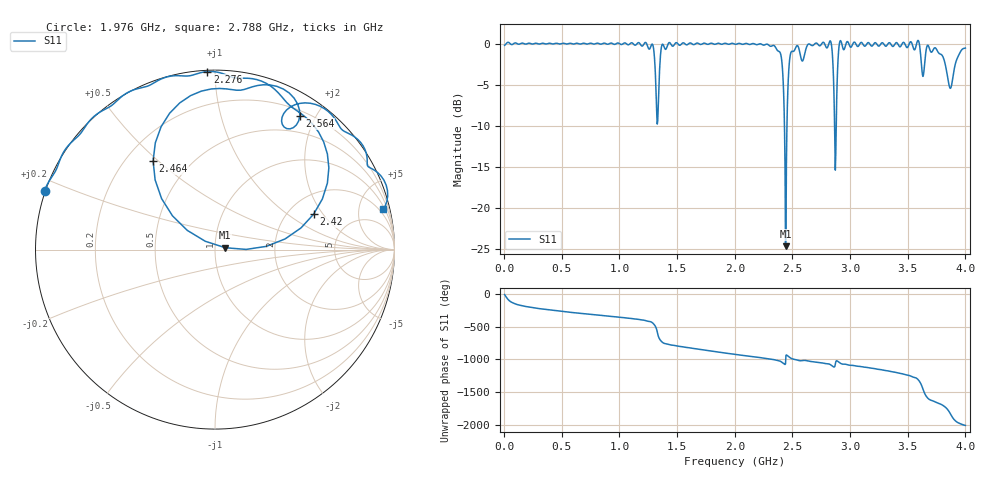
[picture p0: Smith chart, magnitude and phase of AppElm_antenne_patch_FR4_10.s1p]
! TOUCHSTONE file generated by CST MICROWAVE STUDIO
! Date and time: Tue Jun 14 11:51:06 2022
! Project name: AppElm_antenne_patch_FR4.cst
! Parameters = {L=54; W=58.5; e=0.035; h=1.6; lambda=0.190476; ls=120; w0=2.54; w1=0.847; ws=120; y0=18; y1=23.8}
! Header version: 2018
! Port assignment regex: !\s*Touchstone port\s*([0-9]+)\s*=\s*(CST MWS port|CST DS port)\s*([0-9]+|Zmin|Zmax)\s*\(\"(.*)\"\)(\s*mode\s*([0-9]+))?.*
! Touchstone port assignment:
! Touchstone port 1 = CST MWS port 1 ("")
# GHz S MA R 50
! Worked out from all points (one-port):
!   1000 points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, 4 MHz to 4 GHz, reference 50 ohm
!   lowest |S11| = -24.7 dB at 2.44 GHz (marker M1), VSWR 1.12, Z = 56.1 + j1.17 ohm
!   |S11| at or under -10 dB: 2.431 GHz to 2.453 GHz (21.78 MHz wide, 0.892 % of centre); 2.86551 GHz to 2.879615 GHz (14.11 MHz wide, 0.491 % of centre)
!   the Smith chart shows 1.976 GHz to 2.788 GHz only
!   S11 on the Smith chart (normalised r, x): 1.976 GHz: -0.00, +0.17; 2.276 GHz: 0.01, +0.96; 2.42 GHz: 2.72, +1.63; 2.464 GHz: 0.31, +0.48; 2.564 GHz: 0.27, +1.79; 2.788 GHz: 1.28, +8.23
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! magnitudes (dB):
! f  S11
! 4 MHz  -0.2
! 504 MHz  0.0
! 1.004 GHz  0.0
! 1.28 GHz  -0.1
! 1.328 GHz  -9.8
! 1.372 GHz  -0.1
! 1.504 GHz  0.0
! 1.976 GHz  0.0
! 2.004 GHz  -0.1
! 2.276 GHz  -0.1
! 2.392 GHz  -1.1
! 2.42 GHz  -4.7
! 2.44 GHz  -24.7
! 2.464 GHz  -4.4
! 2.48 GHz  -1.5
! 2.504 GHz  -1.0
! 2.564 GHz  -1.1
! 2.788 GHz  -0.3
! 2.836 GHz  0.1
! 2.872 GHz  -15.4
! 2.912 GHz  0.3
! 3.004 GHz  -0.4
! 3.504 GHz  -0.3
! 3.592 GHz  0.4
! 3.632 GHz  -4.0
! 3.748 GHz  -0.7
! 3.868 GHz  -5.4
! 4 GHz  -0.5
